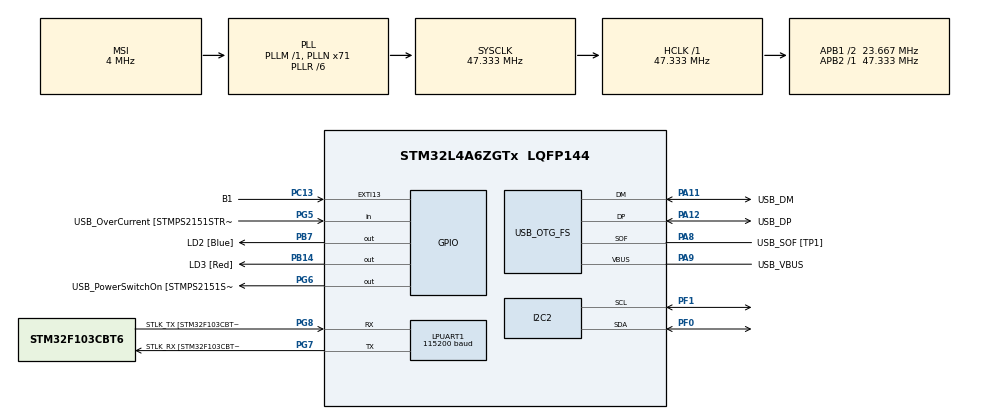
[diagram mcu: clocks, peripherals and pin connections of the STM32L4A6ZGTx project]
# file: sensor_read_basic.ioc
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I2C2.Timing=0x00805B85
LPUART1.AutoBaudRateEnableParam=UART_ADVFEATURE_AUTOBAUDRATE_DISABLE
LPUART1.BaudRate=115200
LPUART1.DMADisableonRxErrorParam=UART_ADVFEATURE_DMA_ENABLEONRXERROR
LPUART1.DataInvertParam=UART_ADVFEATURE_DATAINV_DISABLE
LPUART1.MSBFirstParam=UART_ADVFEATURE_MSBFIRST_DISABLE
LPUART1.Mode=UART_MODE_TX_RX
LPUART1.OneBitSampling=UART_ONE_BIT_SAMPLE_DISABLE
LPUART1.OverrunDisableParam=UART_ADVFEATURE_OVERRUN_ENABLE
LPUART1.Parity=UART_PARITY_NONE
LPUART1.RxPinLevelInvertParam=UART_ADVFEATURE_RXINV_DISABLE
LPUART1.StopBits=UART_STOPBITS_1
LPUART1.SwapParam=UART_ADVFEATURE_SWAP_DISABLE
LPUART1.TxPinLevelInvertParam=UART_ADVFEATURE_TXINV_DISABLE
LPUART1.WordLength=UART_WORDLENGTH_8B
Mcu.Family=STM32L4
Mcu.Name=STM32L4A6ZGTx
Mcu.Package=LQFP144
NVIC.PriorityGroup=NVIC_PRIORITYGROUP_4
PA10.GPIO_Label=USB_ID
PA10.Signal=USB_OTG_FS_ID
PA11.GPIO_Label=USB_DM
PA11.Mode=Device_Only
PA11.Signal=USB_OTG_FS_DM
PA12.GPIO_Label=USB_DP
PA12.Mode=Device_Only
PA12.Signal=USB_OTG_FS_DP
PA13\ (JTMS/SWDIO).GPIO_Label=TMS
PA13\ (JTMS/SWDIO).Mode=Trace_Asynchronous_SW
PA13\ (JTMS/SWDIO).Signal=SYS_JTMS-SWDIO
PA14\ (JTCK/SWCLK).GPIO_Label=TCK
PA14\ (JTCK/SWCLK).Mode=Trace_Asynchronous_SW
PA14\ (JTCK/SWCLK).Signal=SYS_JTCK-SWCLK
PA8.GPIO_Label=USB_SOF [TP1]
PA8.Mode=Activate_SOF_FS
PA8.Signal=USB_OTG_FS_SOF
PA9.GPIO_Label=USB_VBUS
PA9.Mode=Activate_VBUS
PA9.Signal=USB_OTG_FS_VBUS
PB14.GPIO_Label=LD3 [Red]
PB14.Signal=GPIO_Output
PB3\ (JTDO/TRACESWO).GPIO_Label=SWO
PB3\ (JTDO/TRACESWO).Mode=Trace_Asynchronous_SW
PB3\ (JTDO/TRACESWO).Signal=SYS_JTDO-SWO
PB7.GPIO_Label=LD2 [Blue]
PB7.Signal=GPIO_Output
PC13.GPIO_Label=B1
PC13.Signal=GPXTI13
PC14-OSC32_IN\ (PC14).Mode=LSE-External-Oscillator
PC14-OSC32_IN\ (PC14).Signal=RCC_OSC32_IN
PC15-OSC32_OUT\ (PC15).Mode=LSE-External-Oscillator
PC15-OSC32_OUT\ (PC15).Signal=RCC_OSC32_OUT
PF0.Mode=I2C
PF0.Signal=I2C2_SDA
PF1.Mode=I2C
PF1.Signal=I2C2_SCL
PG5.GPIO_Label=USB_OverCurrent [STMPS2151STR_FAULT]
PG5.Signal=GPIO_Input
PG6.GPIO_Label=USB_PowerSwitchOn [STMPS2151STR_EN]
PG6.Signal=GPIO_Output
PG7.GPIO_Label=STLK_RX [STM32F103CBT6_PA3]
PG7.Mode=Asynchronous
PG7.Signal=LPUART1_TX
PG8.GPIO_Label=STLK_TX [STM32F103CBT6_PA2]
PG8.Mode=Asynchronous
PG8.Signal=LPUART1_RX
PH1-OSC_OUT\ (PH1).Signal=RCC_OSC_OUT
ProjectManager.HeapSize=0x200
ProjectManager.StackSize=0x400
ProjectManager.TargetToolchain=STM32CubeIDE
RCC.ADCFreq_Value=48000000
RCC.AHBFreq_Value=47333333.333333336
RCC.APB1CLKDivider=RCC_HCLK_DIV2
RCC.APB1Freq_Value=23666666.666666668
RCC.APB1TimFreq_Value=47333333.333333336
RCC.APB2Freq_Value=47333333.333333336
RCC.APB2TimFreq_Value=47333333.333333336
RCC.CortexFreq_Value=47333333.333333336
RCC.FLatency=FLASH_LATENCY_2
RCC.HCLKFreq_Value=47333333.333333336
RCC.HSE_VALUE=8000000
RCC.HSI48_VALUE=48000000
RCC.HSI_VALUE=16000000
RCC.MSI_VALUE=4000000
RCC.PLLN=71
RCC.PLLR=RCC_PLLR_DIV6
RCC.PLLSAI1N=24
RCC.SYSCLKFreq_VALUE=47333333.333333336
RCC.SYSCLKSource=RCC_SYSCLKSOURCE_PLLCLK
RCC.USBFreq_Value=48000000
RCC.VCOOutputFreq_Value=284000000
USB_OTG_FS.Sof_enable=ENABLE
USB_OTG_FS.VirtualMode=Device_Only
USB_OTG_FS.battery_charging_enable=ENABLE
USB_OTG_FS.low_power_enable=DISABLE
USB_OTG_FS.lpm_enable=DISABLE
USB_OTG_FS.use_dedicated_ep1=DISABLE
USB_OTG_FS.vbus_sensing_enable=ENABLE
board=NUCLEO-L4A6ZG

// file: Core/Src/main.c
/* USER CODE BEGIN Header */
/**
  ******************************************************************************
  * @file           : main.c
  * @brief          : Main program body
  ******************************************************************************
  * @attention
  *
  * Copyright (c) 2026 STMicroelectronics.
  * All rights reserved.
  *
  * This software is licensed under terms that can be found in the LICENSE file
  * in the root directory of this software component.
  * If no LICENSE file comes with this software, it is provided AS-IS.
  *
  ******************************************************************************
  */
/* USER CODE END Header */
#include "main.h"

/* USER CODE BEGIN Includes */
#include <stdio.h>
#include <string.h>
#include "sht4x_i2c.h"
#include "sgp41_i2c.h"
#include "scd4x_i2c.h"
/* USER CODE END Includes */

I2C_HandleTypeDef hi2c2;

UART_HandleTypeDef hlpuart1;

PCD_HandleTypeDef hpcd_USB_OTG_FS;

/* USER CODE BEGIN PV */
static char uart_buf[128];
/* USER CODE END PV */

void SystemClock_Config(void);
static void MX_GPIO_Init(void);
static void MX_I2C2_Init(void);
static void MX_LPUART1_UART_Init(void);
static void MX_USB_OTG_FS_PCD_Init(void);

/* USER CODE BEGIN 0 */
static void uart_print(const char *str)
{
    HAL_UART_Transmit(&hlpuart1, (uint8_t *)str, strlen(str), HAL_MAX_DELAY);
}
/* USER CODE END 0 */

int main(void)
{

  /* MCU Configuration--------------------------------------------------------*/

  /* Reset of all peripherals, Initializes the Flash interface and the Systick. */
  HAL_Init();

  /* Configure the system clock */
  SystemClock_Config();

  /* Initialize all configured peripherals */
  MX_GPIO_Init();
  MX_I2C2_Init();
  MX_LPUART1_UART_Init();
  MX_USB_OTG_FS_PCD_Init();
  /* USER CODE BEGIN 2 */

  uart_print("Initializing sensors...\r\n");
  HAL_Delay(1000);
  sht4x_init(SHT41_I2C_ADDR_44);
/*
    uart_print("Stopping SCD41...\r\n");
    int16_t err = scd4x_stop_periodic_measurement();
    snprintf(uart_buf, sizeof(uart_buf), "SCD41 stop: %d\r\n", err);
    uart_print(uart_buf);
    HAL_Delay(500);

    uart_print("Starting SCD41...\r\n");
    err = scd4x_start_periodic_measurement();
    snprintf(uart_buf, sizeof(uart_buf), "SCD41 start: %d\r\n", err);
    uart_print(uart_buf);
*/
    uart_print("Init complete\r\n");
  /* USER CODE END 2 */

  /* Infinite loop */
  while (1)
  {

    /* USER CODE BEGIN 3 */
	  uart_print("Loop start\r\n");
	  uart_print("Scanning I2C...\r\n");
	  for (uint8_t addr = 1; addr < 128; addr++) {
	      if (HAL_I2C_IsDeviceReady(&hi2c2, addr << 1, 2, 10) == HAL_OK) {
	          snprintf(uart_buf, sizeof(uart_buf), "Found: 0x%02X\r\n", addr);
	          uart_print(uart_buf);
	      }
	  }
	  uart_print("Scan done\r\n");
	  /* SHT41 */
	  	  int32_t temperature, humidity;
	      int16_t ret = sht4x_measure_high_precision(&temperature, &humidity);
	      if (ret == 0) {
	    	  snprintf(uart_buf, sizeof(uart_buf), "SHT41: T=%ld.%02ld C  RH=%ld.%02ld%%\r\n", temperature / 1000, (temperature % 1000) / 10, humidity / 1000, (humidity % 1000) / 10);
	          uart_print(uart_buf);
	      } else {
	          uart_print("SHT41 read failed\r\n");
	      }

	      /* SGP41
	      uint16_t sraw_voc, sraw_nox;
	      ret = sgp41_measure_raw_signals((uint16_t)(humidity * 65535 / 100000), (uint16_t)((temperature + 45000) * 65535 / 175000), &sraw_voc, &sraw_nox);
	      if (ret == 0) {
	          snprintf(uart_buf, sizeof(uart_buf), "SGP41: VOC=%u  NOx=%u\r\n", sraw_voc, sraw_nox);
	          uart_print(uart_buf);
	      } else {
	          uart_print("SGP41 read failed\r\n");
	      } */

	      /* SCD41
	      bool data_ready = false;
	      scd4x_get_data_ready_status(&data_ready);
	      if (data_ready) {
	          uint16_t co2;
	          int32_t temp2, hum2;
	          scd4x_read_measurement(&co2, &temp2, &hum2);
	          snprintf(uart_buf, sizeof(uart_buf), "SCD41: CO2=%u ppm  T=%ld.%02ld C  RH=%ld.%02ld%%\r\n", co2, temp2 / 1000, (temp2 % 1000) / 10, hum2 / 1000, (hum2 % 1000) / 10);
	          uart_print(uart_buf);
	      } */

	      HAL_Delay(1000);
  }
  /* USER CODE END 3 */
}

void SystemClock_Config(void)
{
  RCC_OscInitTypeDef RCC_OscInitStruct = {0};
  RCC_ClkInitTypeDef RCC_ClkInitStruct = {0};

  /** Configure the main internal regulator output voltage
  */
  if (HAL_PWREx_ControlVoltageScaling(PWR_REGULATOR_VOLTAGE_SCALE1) != HAL_OK)
  {
    Error_Handler();
  }

  /** Configure LSE Drive Capability
  */
  HAL_PWR_EnableBkUpAccess();
  __HAL_RCC_LSEDRIVE_CONFIG(RCC_LSEDRIVE_LOW);

  /** Initializes the RCC Oscillators according to the specified parameters
  * in the RCC_OscInitTypeDef structure.
  */
  RCC_OscInitStruct.OscillatorType = RCC_OSCILLATORTYPE_LSE|RCC_OSCILLATORTYPE_MSI;
  RCC_OscInitStruct.LSEState = RCC_LSE_ON;
  RCC_OscInitStruct.MSIState = RCC_MSI_ON;
  RCC_OscInitStruct.MSICalibrationValue = 0;
  RCC_OscInitStruct.MSIClockRange = RCC_MSIRANGE_6;
  RCC_OscInitStruct.PLL.PLLState = RCC_PLL_ON;
  RCC_OscInitStruct.PLL.PLLSource = RCC_PLLSOURCE_MSI;
  RCC_OscInitStruct.PLL.PLLM = 1;
  RCC_OscInitStruct.PLL.PLLN = 71;
  RCC_OscInitStruct.PLL.PLLP = RCC_PLLP_DIV2;
  RCC_OscInitStruct.PLL.PLLQ = RCC_PLLQ_DIV2;
  RCC_OscInitStruct.PLL.PLLR = RCC_PLLR_DIV6;
  if (HAL_RCC_OscConfig(&RCC_OscInitStruct) != HAL_OK)
  {
    Error_Handler();
  }

  /** Initializes the CPU, AHB and APB buses clocks
  */
  RCC_ClkInitStruct.ClockType = RCC_CLOCKTYPE_HCLK|RCC_CLOCKTYPE_SYSCLK
                              |RCC_CLOCKTYPE_PCLK1|RCC_CLOCKTYPE_PCLK2;
  RCC_ClkInitStruct.SYSCLKSource = RCC_SYSCLKSOURCE_PLLCLK;
  RCC_ClkInitStruct.AHBCLKDivider = RCC_SYSCLK_DIV1;
  RCC_ClkInitStruct.APB1CLKDivider = RCC_HCLK_DIV2;
  RCC_ClkInitStruct.APB2CLKDivider = RCC_HCLK_DIV1;

  if (HAL_RCC_ClockConfig(&RCC_ClkInitStruct, FLASH_LATENCY_2) != HAL_OK)
  {
    Error_Handler();
  }

  /** Enable MSI Auto calibration
  */
  HAL_RCCEx_EnableMSIPLLMode();
}

static void MX_I2C2_Init(void)
{

  hi2c2.Instance = I2C2;
  hi2c2.Init.Timing = 0x00805B85;
  hi2c2.Init.OwnAddress1 = 0;
  hi2c2.Init.AddressingMode = I2C_ADDRESSINGMODE_7BIT;
  hi2c2.Init.DualAddressMode = I2C_DUALADDRESS_DISABLE;
  hi2c2.Init.OwnAddress2 = 0;
  hi2c2.Init.OwnAddress2Masks = I2C_OA2_NOMASK;
  hi2c2.Init.GeneralCallMode = I2C_GENERALCALL_DISABLE;
  hi2c2.Init.NoStretchMode = I2C_NOSTRETCH_DISABLE;
  if (HAL_I2C_Init(&hi2c2) != HAL_OK)
  {
    Error_Handler();
  }

  /** Configure Analogue filter
  */
  if (HAL_I2CEx_ConfigAnalogFilter(&hi2c2, I2C_ANALOGFILTER_ENABLE) != HAL_OK)
  {
    Error_Handler();
  }

  /** Configure Digital filter
  */
  if (HAL_I2CEx_ConfigDigitalFilter(&hi2c2, 0) != HAL_OK)
  {
    Error_Handler();
  }

}

static void MX_LPUART1_UART_Init(void)
{

  hlpuart1.Instance = LPUART1;
  hlpuart1.Init.BaudRate = 115200;
  hlpuart1.Init.WordLength = UART_WORDLENGTH_8B;
  hlpuart1.Init.StopBits = UART_STOPBITS_1;
  hlpuart1.Init.Parity = UART_PARITY_NONE;
  hlpuart1.Init.Mode = UART_MODE_TX_RX;
  hlpuart1.Init.HwFlowCtl = UART_HWCONTROL_NONE;
  hlpuart1.Init.OneBitSampling = UART_ONE_BIT_SAMPLE_DISABLE;
  hlpuart1.AdvancedInit.AdvFeatureInit = UART_ADVFEATURE_NO_INIT;
  if (HAL_UART_Init(&hlpuart1) != HAL_OK)
  {
    Error_Handler();
  }

}

static void MX_USB_OTG_FS_PCD_Init(void)
{

  hpcd_USB_OTG_FS.Instance = USB_OTG_FS;
  hpcd_USB_OTG_FS.Init.dev_endpoints = 6;
  hpcd_USB_OTG_FS.Init.speed = PCD_SPEED_FULL;
  hpcd_USB_OTG_FS.Init.phy_itface = PCD_PHY_EMBEDDED;
  hpcd_USB_OTG_FS.Init.Sof_enable = ENABLE;
  hpcd_USB_OTG_FS.Init.low_power_enable = DISABLE;
  hpcd_USB_OTG_FS.Init.lpm_enable = DISABLE;
  hpcd_USB_OTG_FS.Init.battery_charging_enable = ENABLE;
  hpcd_USB_OTG_FS.Init.use_dedicated_ep1 = DISABLE;
  hpcd_USB_OTG_FS.Init.vbus_sensing_enable = ENABLE;
  if (HAL_PCD_Init(&hpcd_USB_OTG_FS) != HAL_OK)
  {
    Error_Handler();
  }

}

static void MX_GPIO_Init(void)
{
  GPIO_InitTypeDef GPIO_InitStruct = {0};

  /* GPIO Ports Clock Enable */
  __HAL_RCC_GPIOC_CLK_ENABLE();
  __HAL_RCC_GPIOF_CLK_ENABLE();
  __HAL_RCC_GPIOH_CLK_ENABLE();
  __HAL_RCC_GPIOB_CLK_ENABLE();
  __HAL_RCC_GPIOG_CLK_ENABLE();
  HAL_PWREx_EnableVddIO2();
  __HAL_RCC_GPIOA_CLK_ENABLE();

  /*Configure GPIO pin Output Level */
  HAL_GPIO_WritePin(GPIOB, LD3_Pin|LD2_Pin, GPIO_PIN_RESET);

  /*Configure GPIO pin Output Level */
  HAL_GPIO_WritePin(USB_PowerSwitchOn_GPIO_Port, USB_PowerSwitchOn_Pin, GPIO_PIN_RESET);

  /*Configure GPIO pin : B1_Pin */
  GPIO_InitStruct.Pin = B1_Pin;
  GPIO_InitStruct.Mode = GPIO_MODE_IT_RISING;
  GPIO_InitStruct.Pull = GPIO_NOPULL;
  HAL_GPIO_Init(B1_GPIO_Port, &GPIO_InitStruct);

  /*Configure GPIO pins : LD3_Pin LD2_Pin */
  GPIO_InitStruct.Pin = LD3_Pin|LD2_Pin;
  GPIO_InitStruct.Mode = GPIO_MODE_OUTPUT_PP;
  GPIO_InitStruct.Pull = GPIO_NOPULL;
  GPIO_InitStruct.Speed = GPIO_SPEED_FREQ_LOW;
  HAL_GPIO_Init(GPIOB, &GPIO_InitStruct);

  /*Configure GPIO pin : USB_OverCurrent_Pin */
  GPIO_InitStruct.Pin = USB_OverCurrent_Pin;
  GPIO_InitStruct.Mode = GPIO_MODE_INPUT;
  GPIO_InitStruct.Pull = GPIO_NOPULL;
  HAL_GPIO_Init(USB_OverCurrent_GPIO_Port, &GPIO_InitStruct);

  /*Configure GPIO pin : USB_PowerSwitchOn_Pin */
  GPIO_InitStruct.Pin = USB_PowerSwitchOn_Pin;
  GPIO_InitStruct.Mode = GPIO_MODE_OUTPUT_PP;
  GPIO_InitStruct.Pull = GPIO_NOPULL;
  GPIO_InitStruct.Speed = GPIO_SPEED_FREQ_LOW;
  HAL_GPIO_Init(USB_PowerSwitchOn_GPIO_Port, &GPIO_InitStruct);

}

void Error_Handler(void)
{
  __disable_irq();
  while (1)
  {
  }
}
